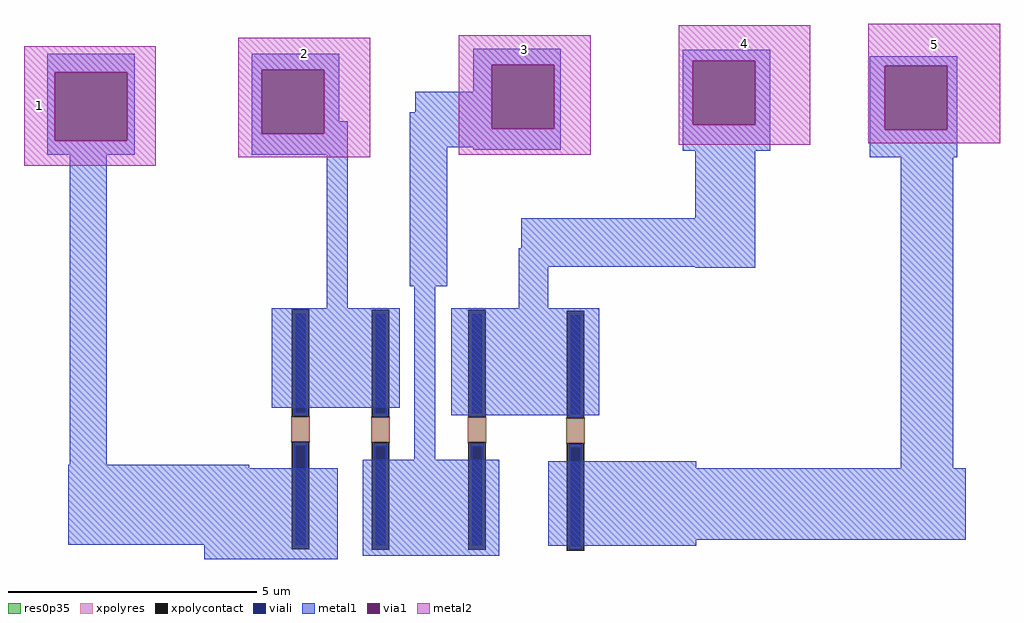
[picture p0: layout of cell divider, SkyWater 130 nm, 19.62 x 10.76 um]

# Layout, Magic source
magic
tech sky130A
magscale 1 2
<< metal1 >>
rect -990 1914 -638 1988
rect -990 1638 -960 1914
rect -668 1638 -638 1914
rect -990 1582 -638 1638
rect -168 1924 184 1988
rect -168 1666 -128 1924
rect 124 1716 184 1924
rect 722 1944 1074 2008
rect 722 1836 796 1944
rect 490 1752 796 1836
rect 124 1666 218 1716
rect -168 1582 218 1666
rect -900 336 -752 1582
rect 134 964 218 1582
rect 466 1686 796 1752
rect 1048 1686 1074 1944
rect 466 1612 1074 1686
rect 466 1054 618 1612
rect 722 1602 1074 1612
rect 1564 1960 1916 2004
rect 1564 1702 1604 1960
rect 1856 1702 1916 1960
rect 1564 1598 1916 1702
rect 2316 1940 2668 1978
rect 2316 1682 2376 1940
rect 2628 1682 2668 1940
rect 1614 1326 1856 1598
rect 2316 1572 2668 1682
rect 916 1206 1856 1326
rect 906 1132 1856 1206
rect -88 564 426 964
rect 486 356 570 1054
rect 906 964 1024 1132
rect 1614 1128 1856 1132
rect 634 534 1228 964
rect -906 322 -178 336
rect -906 14 178 322
rect -360 -44 178 14
rect 278 -30 826 356
rect 1024 322 1618 350
rect 2440 322 2652 1572
rect 1024 34 2702 322
rect 1024 10 1618 34
<< via1 >>
rect -960 1638 -668 1914
rect -128 1666 124 1924
rect 796 1686 1048 1944
rect 1604 1702 1856 1960
rect 2376 1682 2628 1940
<< metal2 >>
rect -1084 1914 -554 2018
rect -1084 1638 -960 1914
rect -668 1638 -554 1914
rect -1084 1538 -554 1638
rect -222 1924 308 2052
rect -222 1666 -128 1924
rect 124 1666 308 1924
rect -222 1572 308 1666
rect 664 1944 1194 2062
rect 664 1686 796 1944
rect 1048 1686 1194 1944
rect 664 1582 1194 1686
rect 1548 1960 2078 2102
rect 1548 1702 1604 1960
rect 1856 1702 2078 1960
rect 1548 1622 2078 1702
rect 2310 1940 2840 2108
rect 2310 1682 2376 1940
rect 2628 1682 2840 1940
rect 2310 1628 2840 1682
use sky130_fd_pr__res_xhigh_po_0p35_K7MYC6  sky130_fd_pr__res_xhigh_po_0p35_K7MYC6_0
transform 1 0 27 0 1 478
box -37 -482 37 482
use sky130_fd_pr__res_xhigh_po_0p35_K7MYC6  sky130_fd_pr__res_xhigh_po_0p35_K7MYC6_1
transform 1 0 349 0 1 476
box -37 -482 37 482
use sky130_fd_pr__res_xhigh_po_0p35_K7MYC6  sky130_fd_pr__res_xhigh_po_0p35_K7MYC6_2
transform 1 0 737 0 1 476
box -37 -482 37 482
use sky130_fd_pr__res_xhigh_po_0p35_K7MYC6  sky130_fd_pr__res_xhigh_po_0p35_K7MYC6_3
transform 1 0 1133 0 1 472
box -37 -482 37 482
<< labels >>
rlabel metal2 -1084 1538 -960 2018 1 1
rlabel metal2 -222 1924 308 2052 1 2
rlabel metal2 664 1944 1194 2062 1 3
rlabel metal2 1548 1960 2078 2102 1 4
rlabel metal2 2310 1940 2840 2108 1 5
<< end >>

# cell sky130_fd_pr__res_xhigh_po_0p35_K7MYC6: kit device sky130_fd_pr__res_xhigh_po_0p35, w 0.350 l 0.50 m 1 nx 1 wmin 0.350 lmin 0.50 rho 2000 val 3.932k dummy 0 dw 0.0 term 188.2 sterm 0.0 caplen 0 wmax 0.350 guard 0 glc 1 grc 1 gtc 1 gbc 1 compatible {sky130_fd_pr__res_xhigh_po_0p35 sky130_fd_pr__res_xhigh_po_0p69 sky130_fd_pr__res_xhigh_po_1p41 sky130_fd_pr__res_xhigh_po_2p85 sky130_fd_pr__res_xhigh_po_5p73} snake 0 full_metal 1 n_guard 0 hv_guard 0 vias 1 viagb 0 viagt 0 viagl 0 viagr 0
